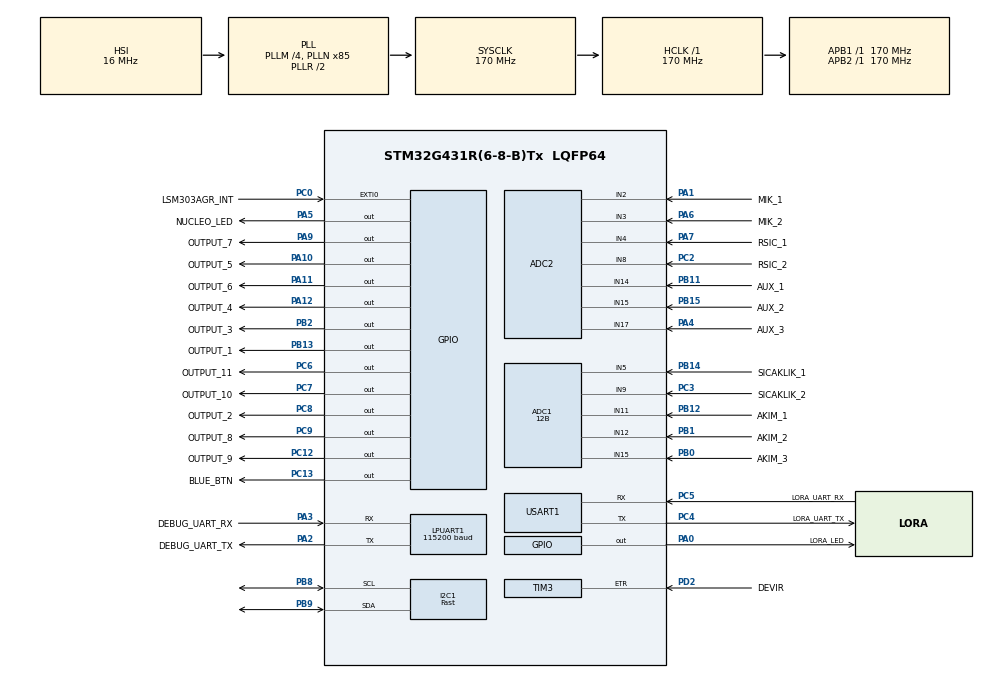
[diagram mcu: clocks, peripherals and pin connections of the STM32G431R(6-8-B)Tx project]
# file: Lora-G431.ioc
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ADC1.Channel-0\#ChannelRegularConversion=ADC_CHANNEL_5
ADC1.Channel-1\#ChannelRegularConversion=ADC_CHANNEL_9
ADC1.Channel-2\#ChannelRegularConversion=ADC_CHANNEL_11
ADC1.Channel-3\#ChannelRegularConversion=ADC_CHANNEL_12
ADC1.Channel-8\#ChannelRegularConversion=ADC_CHANNEL_15
ADC1.ClockPrescaler=ADC_CLOCK_SYNC_PCLK_DIV4
ADC1.ContinuousConvMode=DISABLE
ADC1.DMAContinuousRequests=ENABLE
ADC1.DiscontinuousConvMode=ENABLE
ADC1.ExternalTrigConv=ADC_EXTERNALTRIG_T1_TRGO
ADC1.GainCompensation=0
ADC1.NbrOfConversion=5
ADC1.NbrOfConversionFlag=1
ADC1.NbrOfDiscConversion=3
ADC1.OffsetNumber-0\#ChannelRegularConversion=ADC_OFFSET_NONE
ADC1.OffsetNumber-1\#ChannelRegularConversion=ADC_OFFSET_NONE
ADC1.OffsetNumber-2\#ChannelRegularConversion=ADC_OFFSET_NONE
ADC1.OffsetNumber-3\#ChannelRegularConversion=ADC_OFFSET_NONE
ADC1.OffsetNumber-8\#ChannelRegularConversion=ADC_OFFSET_NONE
ADC1.Overrun=ADC_OVR_DATA_PRESERVED
ADC1.OversamplingMode=ENABLE
ADC1.Rank-0\#ChannelRegularConversion=1
ADC1.Rank-1\#ChannelRegularConversion=2
ADC1.Rank-2\#ChannelRegularConversion=3
ADC1.Rank-3\#ChannelRegularConversion=4
ADC1.Rank-8\#ChannelRegularConversion=5
ADC1.Ratio=ADC_OVERSAMPLING_RATIO_8
ADC1.Resolution=ADC_RESOLUTION_12B
ADC1.RightBitShift=ADC_RIGHTBITSHIFT_1
ADC1.SamplingTime-0\#ChannelRegularConversion=ADC_SAMPLETIME_47CYCLES_5
ADC1.SamplingTime-1\#ChannelRegularConversion=ADC_SAMPLETIME_47CYCLES_5
ADC1.SamplingTime-2\#ChannelRegularConversion=ADC_SAMPLETIME_47CYCLES_5
ADC1.SamplingTime-3\#ChannelRegularConversion=ADC_SAMPLETIME_47CYCLES_5
ADC1.SamplingTime-8\#ChannelRegularConversion=ADC_SAMPLETIME_47CYCLES_5
ADC1.master=1
ADC2.Channel-3\#ChannelRegularConversion=ADC_CHANNEL_2
ADC2.Channel-4\#ChannelRegularConversion=ADC_CHANNEL_3
ADC2.Channel-5\#ChannelRegularConversion=ADC_CHANNEL_4
ADC2.Channel-6\#ChannelRegularConversion=ADC_CHANNEL_8
ADC2.Channel-7\#ChannelRegularConversion=ADC_CHANNEL_14
ADC2.Channel-8\#ChannelRegularConversion=ADC_CHANNEL_15
ADC2.Channel-9\#ChannelRegularConversion=ADC_CHANNEL_17
ADC2.ClockPrescaler=ADC_CLOCK_SYNC_PCLK_DIV4
ADC2.DMAContinuousRequests=ENABLE
ADC2.DiscontinuousConvMode=ENABLE
ADC2.ExternalTrigConv=ADC_EXTERNALTRIG_T2_TRGO
ADC2.NbrOfConversion=7
ADC2.NbrOfConversionFlag=1
ADC2.NbrOfDiscConversion=3
ADC2.OffsetNumber-3\#ChannelRegularConversion=ADC_OFFSET_NONE
ADC2.OffsetNumber-4\#ChannelRegularConversion=ADC_OFFSET_NONE
ADC2.OffsetNumber-5\#ChannelRegularConversion=ADC_OFFSET_NONE
ADC2.OffsetNumber-6\#ChannelRegularConversion=ADC_OFFSET_NONE
ADC2.OffsetNumber-7\#ChannelRegularConversion=ADC_OFFSET_NONE
ADC2.OffsetNumber-8\#ChannelRegularConversion=ADC_OFFSET_NONE
ADC2.OffsetNumber-9\#ChannelRegularConversion=ADC_OFFSET_NONE
ADC2.OversamplingMode=ENABLE
ADC2.Rank-3\#ChannelRegularConversion=1
ADC2.Rank-4\#ChannelRegularConversion=2
ADC2.Rank-5\#ChannelRegularConversion=3
ADC2.Rank-6\#ChannelRegularConversion=4
ADC2.Rank-7\#ChannelRegularConversion=5
ADC2.Rank-8\#ChannelRegularConversion=6
ADC2.Rank-9\#ChannelRegularConversion=7
ADC2.Ratio=ADC_OVERSAMPLING_RATIO_8
ADC2.RightBitShift=ADC_RIGHTBITSHIFT_1
ADC2.SamplingTime-3\#ChannelRegularConversion=ADC_SAMPLETIME_47CYCLES_5
ADC2.SamplingTime-4\#ChannelRegularConversion=ADC_SAMPLETIME_47CYCLES_5
ADC2.SamplingTime-5\#ChannelRegularConversion=ADC_SAMPLETIME_47CYCLES_5
ADC2.SamplingTime-6\#ChannelRegularConversion=ADC_SAMPLETIME_47CYCLES_5
ADC2.SamplingTime-7\#ChannelRegularConversion=ADC_SAMPLETIME_47CYCLES_5
ADC2.SamplingTime-8\#ChannelRegularConversion=ADC_SAMPLETIME_47CYCLES_5
ADC2.SamplingTime-9\#ChannelRegularConversion=ADC_SAMPLETIME_47CYCLES_5
Dma.ADC1.0.Direction=DMA_PERIPH_TO_MEMORY
Dma.ADC1.0.EventEnable=DISABLE
Dma.ADC1.0.Instance=DMA1_Channel1
Dma.ADC1.0.MemDataAlignment=DMA_MDATAALIGN_HALFWORD
Dma.ADC1.0.MemInc=DMA_MINC_ENABLE
Dma.ADC1.0.Mode=DMA_CIRCULAR
Dma.ADC1.0.PeriphDataAlignment=DMA_PDATAALIGN_HALFWORD
Dma.ADC1.0.PeriphInc=DMA_PINC_DISABLE
Dma.ADC1.0.Polarity=HAL_DMAMUX_REQ_GEN_RISING
Dma.ADC1.0.Priority=DMA_PRIORITY_LOW
Dma.ADC1.0.RequestNumber=1
Dma.ADC1.0.SignalID=NONE
Dma.ADC1.0.SyncEnable=DISABLE
Dma.ADC1.0.SyncPolarity=HAL_DMAMUX_SYNC_NO_EVENT
Dma.ADC1.0.SyncRequestNumber=1
Dma.ADC1.0.SyncSignalID=NONE
Dma.ADC2.1.Direction=DMA_PERIPH_TO_MEMORY
Dma.ADC2.1.EventEnable=DISABLE
Dma.ADC2.1.Instance=DMA1_Channel2
Dma.ADC2.1.MemDataAlignment=DMA_MDATAALIGN_HALFWORD
Dma.ADC2.1.MemInc=DMA_MINC_ENABLE
Dma.ADC2.1.Mode=DMA_CIRCULAR
Dma.ADC2.1.PeriphDataAlignment=DMA_PDATAALIGN_HALFWORD
Dma.ADC2.1.PeriphInc=DMA_PINC_DISABLE
Dma.ADC2.1.Polarity=HAL_DMAMUX_REQ_GEN_RISING
Dma.ADC2.1.Priority=DMA_PRIORITY_LOW
Dma.ADC2.1.RequestNumber=1
Dma.ADC2.1.SignalID=NONE
Dma.ADC2.1.SyncEnable=DISABLE
Dma.ADC2.1.SyncPolarity=HAL_DMAMUX_SYNC_NO_EVENT
Dma.ADC2.1.SyncRequestNumber=1
Dma.ADC2.1.SyncSignalID=NONE
Dma.Request0=ADC1
Dma.Request1=ADC2
I2C1.Analog_Filter=I2C_ANALOGFILTER_DISABLE
I2C1.I2C_Speed_Mode=I2C_Fast
I2C1.OwnAddress=51
I2C1.Timing=0x108031A0
LPUART1.BaudRate=115200
LPUART1.WordLength=UART_WORDLENGTH_8B
Mcu.Family=STM32G4
Mcu.Name=STM32G431R(6-8-B)Tx
Mcu.Package=LQFP64
NVIC.DMA1_Channel1_IRQn=true\:0\:0\:false\:false\:true\:false\:true
NVIC.DMA1_Channel2_IRQn=true\:0\:0\:false\:false\:true\:false\:true
NVIC.EXTI0_IRQn=true\:0\:0\:false\:false\:true\:true\:true
NVIC.I2C1_ER_IRQn=true\:0\:0\:false\:false\:true\:true\:true
NVIC.I2C1_EV_IRQn=true\:0\:0\:false\:false\:true\:true\:true
NVIC.PriorityGroup=NVIC_PRIORITYGROUP_4
NVIC.TIM1_CC_IRQn=true\:0\:0\:false\:false\:true\:true\:true
NVIC.TIM1_TRG_COM_TIM17_IRQn=true\:0\:0\:false\:false\:true\:true\:true
NVIC.TIM1_UP_TIM16_IRQn=true\:0\:0\:false\:false\:true\:true\:true
NVIC.TIM2_IRQn=true\:0\:0\:false\:false\:true\:true\:true
NVIC.TIM6_DAC_IRQn=true\:0\:0\:false\:false\:true\:true\:true
NVIC.TIM7_IRQn=true\:0\:0\:false\:false\:true\:true\:true
NVIC.USART1_IRQn=true\:0\:0\:false\:false\:true\:true\:true
PA0.GPIO_Label=LORA_LED
PA0.Signal=GPIO_Output
PA1.GPIO_Label=MIK_1
PA1.Mode=IN2-Single-Ended
PA1.Signal=ADC2_IN2
PA10.GPIO_Label=OUTPUT_5
PA10.Signal=GPIO_Output
PA11.GPIO_Label=OUTPUT_6
PA11.Signal=GPIO_Output
PA12.GPIO_Label=OUTPUT_4
PA12.Signal=GPIO_Output
PA13.GPIO_Label=T_SWDIO
PA13.Mode=Serial_Wire
PA13.Signal=SYS_JTMS-SWDIO
PA14.GPIO_Label=T_SWCLK
PA14.Mode=Serial_Wire
PA14.Signal=SYS_JTCK-SWCLK
PA2.GPIO_Label=DEBUG_UART_TX
PA2.Mode=Asynchronous
PA2.Signal=LPUART1_TX
PA3.GPIO_Label=DEBUG_UART_RX
PA3.Mode=Asynchronous
PA3.Signal=LPUART1_RX
PA4.GPIO_Label=AUX_3
PA4.Mode=IN17-Single-Ended
PA4.Signal=ADC2_IN17
PA5.GPIO_Label=NUCLEO_LED
PA5.Signal=GPIO_Output
PA6.GPIO_Label=MIK_2
PA6.Mode=IN3-Single-Ended
PA6.Signal=ADC2_IN3
PA7.GPIO_Label=RSIC_1
PA7.Mode=IN4-Single-Ended
PA7.Signal=ADC2_IN4
PA9.GPIO_Label=OUTPUT_7
PA9.Signal=GPIO_Output
PB0.GPIO_Label=AKIM_3
PB0.Mode=IN15-Single-Ended
PB0.Signal=ADC1_IN15
PB1.GPIO_Label=AKIM_2
PB1.Mode=IN12-Single-Ended
PB1.Signal=ADC1_IN12
PB11.GPIO_Label=AUX_1
PB11.Mode=IN14-Single-Ended
PB11.Signal=ADC2_IN14
PB12.GPIO_Label=AKIM_1
PB12.Mode=IN11-Single-Ended
PB12.Signal=ADC1_IN11
PB13.GPIO_Label=OUTPUT_1
PB13.Signal=GPIO_Output
PB14.GPIO_Label=SICAKLIK_1
PB14.Mode=IN5-Single-Ended
PB14.Signal=ADC1_IN5
PB15.GPIO_Label=AUX_2
PB15.Mode=IN15-Single-Ended
PB15.Signal=ADC2_IN15
PB2.GPIO_Label=OUTPUT_3
PB2.Signal=GPIO_Output
PB8-BOOT0.GPIO_FM8=SYSCFG_FASTMODEPLUS_PB8
PB8-BOOT0.GPIO_PuPdOD=GPIO_PULLUP
PB8-BOOT0.GPIO_Speed=GPIO_SPEED_FREQ_LOW
PB8-BOOT0.Mode=I2C
PB8-BOOT0.Signal=I2C1_SCL
PB9.GPIO_FM9=SYSCFG_FASTMODEPLUS_PB9
PB9.GPIO_PuPdOD=GPIO_PULLUP
PB9.Mode=I2C
PB9.Signal=I2C1_SDA
PC0.GPIO_Label=LSM303AGR_INT
PC0.Signal=GPXTI0
PC12.GPIO_Label=OUTPUT_9
PC12.Signal=GPIO_Output
PC13.GPIO_Label=BLUE_BTN
PC13.Signal=GPIO_Output
PC14-OSC32_IN.Mode=LSE-External-Oscillator
PC14-OSC32_IN.Signal=RCC_OSC32_IN
PC15-OSC32_OUT.Mode=LSE-External-Oscillator
PC15-OSC32_OUT.Signal=RCC_OSC32_OUT
PC2.GPIO_Label=RSIC_2
PC2.Mode=IN8-Single-Ended
PC2.Signal=ADC2_IN8
PC3.GPIO_Label=SICAKLIK_2
PC3.Mode=IN9-Single-Ended
PC3.Signal=ADC1_IN9
PC4.GPIO_Label=LORA_UART_TX
PC4.Mode=Asynchronous
PC4.Signal=USART1_TX
PC5.GPIO_Label=LORA_UART_RX
PC5.Mode=Asynchronous
PC5.Signal=USART1_RX
PC6.GPIO_Label=OUTPUT_11
PC6.Signal=GPIO_Output
PC7.GPIO_Label=OUTPUT_10
PC7.Signal=GPIO_Output
PC8.GPIO_Label=OUTPUT_2
PC8.Signal=GPIO_Output
PC9.GPIO_Label=OUTPUT_8
PC9.Signal=GPIO_Output
PD2.GPIO_Label=DEVIR
PD2.Signal=S_TIM3_ETR
PF0-OSC_IN.Mode=HSE-External-Oscillator
PF0-OSC_IN.Signal=RCC_OSC_IN
PF1-OSC_OUT.Mode=HSE-External-Oscillator
PF1-OSC_OUT.Signal=RCC_OSC_OUT
ProjectManager.HeapSize=0x200
ProjectManager.StackSize=0x400
ProjectManager.TargetToolchain=STM32CubeIDE
RCC.ADC12Freq_Value=170000000
RCC.AHBFreq_Value=170000000
RCC.APB1Freq_Value=170000000
RCC.APB1TimFreq_Value=170000000
RCC.APB2Freq_Value=170000000
RCC.APB2TimFreq_Value=170000000
RCC.CortexFreq_Value=170000000
RCC.EXTERNAL_CLOCK_VALUE=12288000
RCC.HCLKFreq_Value=170000000
RCC.HSE_VALUE=24000000
RCC.HSI48_VALUE=48000000
RCC.HSI_VALUE=16000000
RCC.PLLM=RCC_PLLM_DIV4
RCC.PLLN=85
RCC.RTCClockSelection=RCC_RTCCLKSOURCE_LSE
RCC.SYSCLKFreq_VALUE=170000000
RCC.SYSCLKSource=RCC_SYSCLKSOURCE_PLLCLK
RCC.USBFreq_Value=170000000
RCC.VCOOutputFreq_Value=340000000
SH.S_TIM3_ETR.0=TIM3_ETR,ClockSourceETR_Mode2
TIM1.Channel-Output\ Compare1\ No\ Output=TIM_CHANNEL_1
TIM1.PeriodNoDither=14999
TIM1.Prescaler=33999
TIM1.TIM_MasterOutputTrigger=TIM_TRGO_UPDATE
TIM16.PeriodNoDither=24999
TIM16.Prescaler=33999
TIM17.PeriodNoDither=49999
TIM17.Prescaler=50999
TIM2.Channel-Output\ Compare1\ No\ Output=TIM_CHANNEL_1
TIM2.PeriodNoDither=14999
TIM2.Prescaler=33999
TIM2.TIM_MasterOutputTrigger=TIM_TRGO_UPDATE
TIM3.PeriodNoDither=65535
TIM3.Prescaler=0
TIM6.PeriodNoDither=59999
TIM6.Prescaler=50999
TIM7.PeriodNoDither=4999
TIM7.Prescaler=33999
USART1.VirtualMode-Asynchronous=VM_ASYNC
VP_SYS_VS_DBSignals.Mode=DisableDeadBatterySignals
VP_TIM16_VS_ClockSourceINT.Mode=Enable_Timer
VP_TIM17_VS_ClockSourceINT.Mode=Enable_Timer
VP_TIM1_VS_ClockSourceINT.Mode=Internal
VP_TIM1_VS_no_output1.Mode=Output Compare1 No Output
VP_TIM2_VS_ClockSourceINT.Mode=Internal
VP_TIM2_VS_no_output1.Mode=Output Compare1 No Output
VP_TIM6_VS_ClockSourceINT.Mode=Enable_Timer
VP_TIM7_VS_ClockSourceINT.Mode=Enable_Timer
board=NUCLEO-G431RB

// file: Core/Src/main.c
/* USER CODE BEGIN Header */
/**
  ******************************************************************************
  * @file           : main.c
  * @brief          : Main program body
  ******************************************************************************
  * @attention
  *
  * <h2><center>&copy; Copyright (c) 2020 STMicroelectronics.
  * All rights reserved.</center></h2>
  *
  * This software component is licensed by ST under BSD 3-Clause license,
  * the "License"; You may not use this file except in compliance with the
  * License. You may obtain a copy of the License at:
  *                        opensource.org/licenses/BSD-3-Clause
  *
  ******************************************************************************
  */
/* USER CODE END Header */

#include "main.h"
#include "adc.h"
#include "dma.h"
#include "i2c.h"
#include "usart.h"
#include "tim.h"
#include "gpio.h"

/* USER CODE BEGIN Includes */
#include <stdio.h>
#include "retarget.h"
#include "sensor_driver.h"
#include "lora_driver.h"
/* USER CODE END Includes */

/* USER CODE BEGIN PD */
#define LPP_DATATYPE_HUMIDITY 0x68
#define LPP_DATATYPE_TEMPERATURE 0x67
#define LPP_DATATYPE_BAROMETER 0x73
#define LPP_DATATYPE_ADC 0x74
#define LPP_DATATYPE_PULSE 0x75

#define LORAWAN_APP_PORT           99;            /*LoRaWAN application port*/
#define LORAWAN_CONFIRMED_MSG      ENABLE         /*LoRaWAN confirmed messages*/

#define JOIN_MODE                  OTAA_JOIN_MODE   /*ABP_JOIN_MODE */ /*LoRaWan join methode*/

#define PULSE_COUNTER_COUNT 		1
#define PULSE_COEF                  4
#define PULSE_MINUTE                60
/* USER CODE END PD */

/* USER CODE BEGIN PV */

uint16_t pulse[PULSE_COUNTER_COUNT];
uint16_t calibrated_pulse[PULSE_COUNTER_COUNT];

TIM_HandleTypeDef *hPulseCycleTimer; //1sn
TIM_HandleTypeDef *hPulseCounter[PULSE_COUNTER_COUNT];
TIM_HandleTypeDef *hCollectCycleTimer; //5sn

static LoRaDriverParam_t LoRaDriverParam = {0, JOIN_MODE};
/* USER CODE END PV */

void SystemClock_Config(void);
/* USER CODE BEGIN PFP */
void HAL_GPIO_EXTI_Callback(uint16_t GPIO_Pin);
void HAL_TIM_PeriodElapsedCallback(TIM_HandleTypeDef *htim);

static void PrepareSensorData(sSendDataBinary_t *SendDataBinary);
static LoRaDriverCallback_t LoRaDriverCallbacks = { PrepareSensorData, NULL };
/* USER CODE END PFP */

/* USER CODE BEGIN 0 */
#define min(a,b) (a) < (b) ? (a) : (b)
#define max(a,b) (a) > (b) ? (a) : (b)
#define abs(a) ((a) > 0 ? (a) : -(a))
/* USER CODE END 0 */

int main(void)
{

  /* MCU Configuration--------------------------------------------------------*/

  /* Reset of all peripherals, Initializes the Flash interface and the Systick. */
  HAL_Init();

  /* Configure the system clock */
  SystemClock_Config();

  /* Initialize all configured peripherals */
  MX_GPIO_Init();
  MX_LPUART1_UART_Init();
  MX_DMA_Init();
  MX_ADC1_Init();
  MX_ADC2_Init();
  MX_TIM3_Init();
  MX_USART1_UART_Init();
  MX_TIM17_Init();
  MX_TIM7_Init();
  MX_TIM6_Init();
  MX_I2C1_Init();
  MX_TIM2_Init();
  MX_TIM1_Init();
  MX_TIM16_Init();
  /* USER CODE BEGIN 2 */

  RetargetInit(&hlpuart1);

  hmodem_uart = &huart1;

  hSendCycleTimer = &htim17; //15sn
  hPulseCycleTimer = &htim7; //1sn
  hPulseCounter[0] = &htim3;
  hCollectCycleTimer = &htim16; //5sn
  hProtectCycleTimer = &htim6; //18sn
  hADC1Timer = &htim1;
  hADC2Timer = &htim2;

  /* Context Initialization following the LoRa device modem Used*/
  Lora_Ctx_Init(&LoRaDriverCallbacks, &LoRaDriverParam);

  BSP_PB_Init(BUTTON_USER, BUTTON_MODE_EXTI);

  if (SensorDevicesInit() != COMPONENT_OK) {
	  printf("Sensors can not initialized! \r\n");

  } else {
	  printf("Sensors initialized! \r\n");
  }

  if (AnalogDevicesInit() != COMPONENT_OK) {
	  printf("ADCs can not initialized! \r\n");

  } else {
	  printf("ADCs initialized! \r\n");
  }

  //TIMERS
  start_timer(hPulseCycleTimer); //1sn timer
  start_timer(hCollectCycleTimer); //5sn timer

  /* USER CODE END 2 */

  /* Infinite loop */
  /* USER CODE BEGIN WHILE */

  printf("Starting \r\n");

  while (1)
  {
    /* USER CODE END WHILE */

    /* USER CODE BEGIN 3 */

    Lora_fsm();
  }
  /* USER CODE END 3 */
}

void SystemClock_Config(void)
{
  RCC_OscInitTypeDef RCC_OscInitStruct = {0};
  RCC_ClkInitTypeDef RCC_ClkInitStruct = {0};
  RCC_PeriphCLKInitTypeDef PeriphClkInit = {0};

  /** Configure the main internal regulator output voltage
  */
  HAL_PWREx_ControlVoltageScaling(PWR_REGULATOR_VOLTAGE_SCALE1_BOOST);
  /** Initializes the CPU, AHB and APB busses clocks
  */
  RCC_OscInitStruct.OscillatorType = RCC_OSCILLATORTYPE_HSI;
  RCC_OscInitStruct.HSIState = RCC_HSI_ON;
  RCC_OscInitStruct.HSICalibrationValue = RCC_HSICALIBRATION_DEFAULT;
  RCC_OscInitStruct.PLL.PLLState = RCC_PLL_ON;
  RCC_OscInitStruct.PLL.PLLSource = RCC_PLLSOURCE_HSI;
  RCC_OscInitStruct.PLL.PLLM = RCC_PLLM_DIV4;
  RCC_OscInitStruct.PLL.PLLN = 85;
  RCC_OscInitStruct.PLL.PLLP = RCC_PLLP_DIV2;
  RCC_OscInitStruct.PLL.PLLQ = RCC_PLLQ_DIV2;
  RCC_OscInitStruct.PLL.PLLR = RCC_PLLR_DIV2;
  if (HAL_RCC_OscConfig(&RCC_OscInitStruct) != HAL_OK)
  {
    Error_Handler();
  }
  /** Initializes the CPU, AHB and APB busses clocks
  */
  RCC_ClkInitStruct.ClockType = RCC_CLOCKTYPE_HCLK|RCC_CLOCKTYPE_SYSCLK
                              |RCC_CLOCKTYPE_PCLK1|RCC_CLOCKTYPE_PCLK2;
  RCC_ClkInitStruct.SYSCLKSource = RCC_SYSCLKSOURCE_PLLCLK;
  RCC_ClkInitStruct.AHBCLKDivider = RCC_SYSCLK_DIV1;
  RCC_ClkInitStruct.APB1CLKDivider = RCC_HCLK_DIV1;
  RCC_ClkInitStruct.APB2CLKDivider = RCC_HCLK_DIV1;

  if (HAL_RCC_ClockConfig(&RCC_ClkInitStruct, FLASH_LATENCY_8) != HAL_OK)
  {
    Error_Handler();
  }
  /** Initializes the peripherals clocks
  */
  PeriphClkInit.PeriphClockSelection = RCC_PERIPHCLK_USART1|RCC_PERIPHCLK_LPUART1
                              |RCC_PERIPHCLK_I2C1|RCC_PERIPHCLK_ADC12;
  PeriphClkInit.Usart1ClockSelection = RCC_USART1CLKSOURCE_PCLK2;
  PeriphClkInit.Lpuart1ClockSelection = RCC_LPUART1CLKSOURCE_PCLK1;
  PeriphClkInit.I2c1ClockSelection = RCC_I2C1CLKSOURCE_PCLK1;
  PeriphClkInit.Adc12ClockSelection = RCC_ADC12CLKSOURCE_SYSCLK;
  if (HAL_RCCEx_PeriphCLKConfig(&PeriphClkInit) != HAL_OK)
  {
    Error_Handler();
  }
}

/* USER CODE BEGIN 4 */

void HAL_GPIO_EXTI_Callback(uint16_t GPIO_Pin)
{
//	BSP_LED_Toggle(LED_GREEN);
//	HAL_GPIO_TogglePin(GPIOA, GPIO_PIN_0);
//	HAL_GPIO_TogglePin(GPIOB, GPIO_PIN_13);

	if( GPIO_Pin == LSM303AGR_INT_Pin )
	{
	  AXL_INT_received = 1;
	}
}

void HAL_TIM_PeriodElapsedCallback(TIM_HandleTypeDef *htim)
{
	if (htim == hPulseCycleTimer) {

		for (int i = 0; i < PULSE_COUNTER_COUNT; i++) {
			HAL_TIM_Base_Stop(hPulseCounter[i]);
			pulse[i] = __HAL_TIM_GetCounter(hPulseCounter[i]);
			HAL_TIM_GenerateEvent(hPulseCounter[i], TIM_EVENTSOURCE_UPDATE);
			HAL_TIM_Base_Start(hPulseCounter[i]);
			//calibrated_pulse[i] = pulse[i] * (PULSE_MINUTE / PULSE_COEF);
			calibrated_pulse[i] = 0x1250;
		}

		return;
	}

	if (htim == hCollectCycleTimer) {

		if (CollectSensorData() != COMPONENT_OK) {
			printf("Can not get sensor data! \r\n");

		} else {
			printf("Collected sensor data :  temperature = %d, pressure = %d, humidity = %d \r\n",
					temperature, pressure, humidity);
		}

		if (CollectAnalogData() != COMPONENT_OK) {
			printf("Can not get analog data! \r\n");

		} else {

			printf("Collected analog data :  adc1[0] = %d, adc1[1] = %d, adc2[0] = %d \r\n",
			processed_adc1[0], processed_adc1[1], processed_adc2[0] );
		}
		return;
	}

	if (htim == hSendCycleTimer) {

		Lora_OnNextSensorMeasureTimerEvt(NULL);

		return;
	}

	if (htim == hProtectCycleTimer) {

	//	Lora_OnJoinProtectTimerEvt(NULL); //disabled for now, should be reenabled later
	}
}

static void PrepareSensorData(sSendDataBinary_t *SendDataBinary)
{
	int index = 0;

//	SendDataBinary->Buffer[index++] = cchannel++;
/*	SendDataBinary->Buffer[index++] = LPP_DATATYPE_BAROMETER;
	SendDataBinary->Buffer[index++] = (pressure >> 8) & 0xFF;
	SendDataBinary->Buffer[index++] = pressure & 0xFF;
	SendDataBinary->Buffer[index++] = cchannel++;
	SendDataBinary->Buffer[index++] = LPP_DATATYPE_TEMPERATURE;
	SendDataBinary->Buffer[index++] = (temperature >> 8) & 0xFF;
	SendDataBinary->Buffer[index++] = temperature & 0xFF;
	SendDataBinary->Buffer[index++] = cchannel++;
	SendDataBinary->Buffer[index++] = LPP_DATATYPE_HUMIDITY;
	SendDataBinary->Buffer[index++] = humidity & 0xFF;
*/
	SendDataBinary->Buffer[index++] = LPP_DATATYPE_ADC;
	SendDataBinary->Buffer[index++] = (calibrated_adc1[0] >> 8) & 0xFF;
	SendDataBinary->Buffer[index++] = calibrated_adc1[0] & 0xFF;
	SendDataBinary->Buffer[index++] = (calibrated_adc1[1] >> 8) & 0xFF;
	SendDataBinary->Buffer[index++] = calibrated_adc1[1] & 0xFF;
	SendDataBinary->Buffer[index++] = (calibrated_adc1[2] >> 8) & 0xFF;
	SendDataBinary->Buffer[index++] = calibrated_adc1[2] & 0xFF;
	SendDataBinary->Buffer[index++] = (calibrated_adc1[3] >> 8) & 0xFF;
	SendDataBinary->Buffer[index++] = calibrated_adc1[3] & 0xFF;
	SendDataBinary->Buffer[index++] = (calibrated_adc1[4] >> 8) & 0xFF;
	SendDataBinary->Buffer[index++] = calibrated_adc1[4] & 0xFF;
	SendDataBinary->Buffer[index++] = (calibrated_adc1[5] >> 8) & 0xFF;
	SendDataBinary->Buffer[index++] = calibrated_adc1[5] & 0xFF;
	SendDataBinary->Buffer[index++] = (calibrated_adc2[0] >> 8) & 0xFF;
	SendDataBinary->Buffer[index++] = calibrated_adc2[0] & 0xFF;
	SendDataBinary->Buffer[index++] = (calibrated_adc2[1] >> 8) & 0xFF;
	SendDataBinary->Buffer[index++] = calibrated_adc2[1] & 0xFF;
	SendDataBinary->Buffer[index++] = (calibrated_adc2[2] >> 8) & 0xFF;
	SendDataBinary->Buffer[index++] = calibrated_adc2[2] & 0xFF;
	SendDataBinary->Buffer[index++] = (calibrated_adc2[3] >> 8) & 0xFF;
	SendDataBinary->Buffer[index++] = calibrated_adc2[3] & 0xFF;
	SendDataBinary->Buffer[index++] = (calibrated_adc2[4] >> 8) & 0xFF;
	SendDataBinary->Buffer[index++] = calibrated_adc2[4] & 0xFF;
	SendDataBinary->Buffer[index++] = (calibrated_adc2[5] >> 8) & 0xFF;
	SendDataBinary->Buffer[index++] = calibrated_adc2[5] & 0xFF;
	SendDataBinary->Buffer[index++] = (calibrated_adc2[6] >> 8) & 0xFF;
	SendDataBinary->Buffer[index++] = calibrated_adc2[6] & 0xFF;

	SendDataBinary->Buffer[index++] = LPP_DATATYPE_PULSE;
	SendDataBinary->Buffer[index++] = (calibrated_pulse[0] >> 8) & 0xFF;
	SendDataBinary->Buffer[index++] = calibrated_pulse[0] & 0xFF;

	SendDataBinary->DataSize = index;
	SendDataBinary->Port = LORAWAN_APP_PORT;
	SendDataBinary->Ack = !LORAWAN_CONFIRMED_MSG;
}
/* USER CODE END 4 */

void Error_Handler(void)
{
}

/************************ (C) COPYRIGHT STMicroelectronics *****END OF FILE****/
